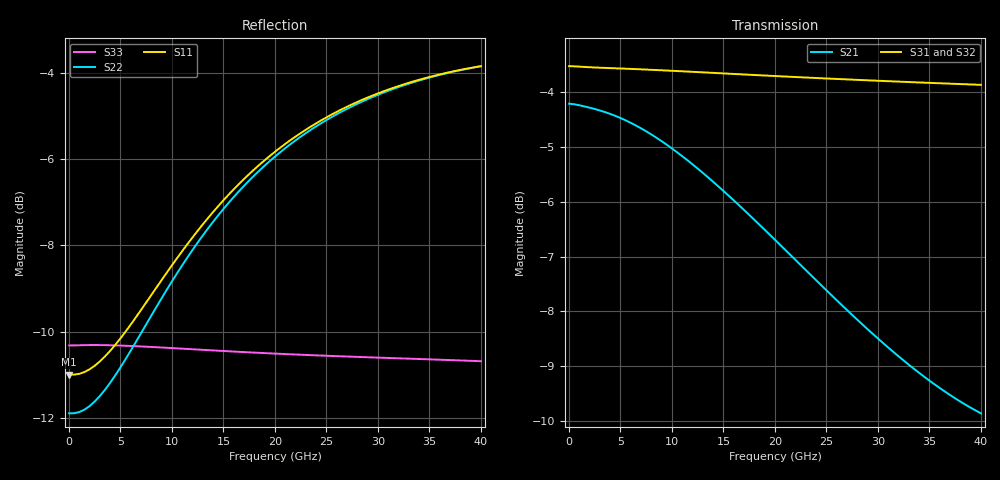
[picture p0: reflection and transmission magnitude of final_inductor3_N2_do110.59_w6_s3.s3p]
#  GHZ S DB R 50
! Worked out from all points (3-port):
!   82 points, 10 MHz to 40 GHz, reference 50 ohm
!   strongest paths, dB at 10 MHz, 9.5 GHz, 20 GHz, 30 GHz, 40 GHz:
!     S31: -3.5, -3.6, -3.7, -3.8, -3.9
!     S32: -3.9, -3.9, -3.9, -4.0, -4.0
!     S21: -4.2, -5.0, -6.7, -8.5, -9.9
!   lowest |S11| = -11.0 dB at 20 MHz (marker M1), VSWR 1.79, Z = 28 + j0.0569 ohm
!   |S11| at or under -10 dB: start of sweep to 5.484 GHz
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0.01  -10.99 179.9  -4.21 -0.0  -3.53 -0.0
      -4.21 -0.0  -11.89 179.9  -3.90 -0.0
      -3.53 -0.0  -3.90 -0.0  -10.32 180.0
0.02  -10.99 179.8  -4.21 -0.1  -3.53 -0.0
      -4.21 -0.1  -11.89 179.8  -3.90 -0.0
      -3.53 -0.0  -3.90 -0.0  -10.32 180.0
5  -10.15 137.3  -4.47 -20.2  -3.57 -2.5
   -4.47 -20.2  -10.82 134.6  -3.92 -2.1
   -3.57 -2.5  -3.92 -2.1  -10.32 174.9
10.5  -8.29 102.3  -5.10 -41.4  -3.62 -5.1
      -5.10 -41.4  -8.64 99.0  -3.93 -4.3
      -3.62 -5.1  -3.93 -4.3  -10.39 169.5
15.5  -6.82 79.6  -5.89 -59.6  -3.66 -7.4
      -5.89 -59.6  -7.01 76.7  -3.94 -6.4
      -3.66 -7.4  -3.94 -6.4  -10.45 164.8
20.5  -5.74 62.2  -6.79 -77.0  -3.71 -9.5
      -6.79 -77.0  -5.84 59.7  -3.94 -8.5
      -3.71 -9.5  -3.94 -8.5  -10.51 160.4
25  -5.03 49.5  -7.62 -92.3  -3.75 -11.5
    -7.62 -92.3  -5.09 47.2  -3.95 -10.4
    -3.75 -11.5  -3.95 -10.4  -10.56 156.4
30  -4.47 37.5  -8.50 -109.2  -3.79 -13.6
    -8.50 -109.2  -4.51 35.4  -3.96 -12.6
    -3.79 -13.6  -3.96 -12.6  -10.60 152.2
35  -4.09 27.1  -9.26 -126.0  -3.83 -15.8
    -9.26 -126.0  -4.11 25.1  -3.97 -14.8
    -3.83 -15.8  -3.97 -14.8  -10.64 147.9
40  -3.84 17.8  -9.86 -142.7  -3.87 -18.1
    -9.86 -142.7  -3.84 15.9  -3.98 -17.1
    -3.87 -18.1  -3.98 -17.1  -10.68 143.7
